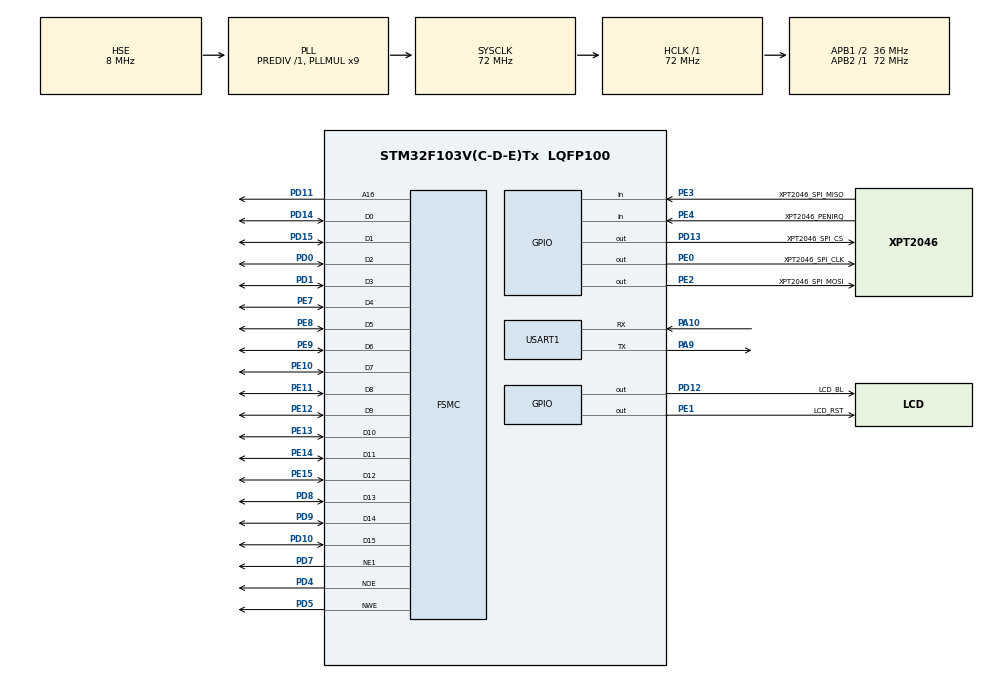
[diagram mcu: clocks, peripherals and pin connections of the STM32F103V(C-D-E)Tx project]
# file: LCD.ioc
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FSMC.AddressSetupTime1=1
FSMC.BusTurnAroundDuration1=0
FSMC.DataSetupTime1=4
Mcu.Family=STM32F1
Mcu.Name=STM32F103V(C-D-E)Tx
Mcu.Package=LQFP100
NVIC.PriorityGroup=NVIC_PRIORITYGROUP_4
OSC_IN.Mode=HSE-External-Oscillator
OSC_IN.Signal=RCC_OSC_IN
OSC_OUT.Mode=HSE-External-Oscillator
OSC_OUT.Signal=RCC_OSC_OUT
PA10.Mode=Asynchronous
PA10.Signal=USART1_RX
PA13.Mode=Serial_Wire
PA13.Signal=SYS_JTMS-SWDIO
PA14.Mode=Serial_Wire
PA14.Signal=SYS_JTCK-SWCLK
PA9.Mode=Asynchronous
PA9.Signal=USART1_TX
PD0.Mode=16b-d1
PD0.Signal=FSMC_D2
PD1.Mode=16b-d1
PD1.Signal=FSMC_D3
PD10.Mode=16b-d1
PD10.Signal=FSMC_D15
PD11.Mode=A16_1
PD11.Signal=FSMC_A16
PD12.GPIO_Label=LCD_BL
PD12.Signal=GPIO_Output
PD13.GPIO_Label=XPT2046_SPI_CS
PD13.GPIO_Speed=GPIO_SPEED_FREQ_HIGH
PD13.Signal=GPIO_Output
PD14.Mode=16b-d1
PD14.Signal=FSMC_D0
PD15.Mode=16b-d1
PD15.Signal=FSMC_D1
PD4.Mode=Lcd1
PD4.Signal=FSMC_NOE
PD5.Mode=Lcd1
PD5.Signal=FSMC_NWE
PD7.Mode=NorPsramChipSelect1_1
PD7.Signal=FSMC_NE1
PD8.Mode=16b-d1
PD8.Signal=FSMC_D13
PD9.Mode=16b-d1
PD9.Signal=FSMC_D14
PE0.GPIO_Label=XPT2046_SPI_CLK
PE0.GPIO_Speed=GPIO_SPEED_FREQ_HIGH
PE0.Signal=GPIO_Output
PE1.GPIO_Label=LCD_RST
PE1.Signal=GPIO_Output
PE10.Mode=16b-d1
PE10.Signal=FSMC_D7
PE11.Mode=16b-d1
PE11.Signal=FSMC_D8
PE12.Mode=16b-d1
PE12.Signal=FSMC_D9
PE13.Mode=16b-d1
PE13.Signal=FSMC_D10
PE14.Mode=16b-d1
PE14.Signal=FSMC_D11
PE15.Mode=16b-d1
PE15.Signal=FSMC_D12
PE2.GPIO_Label=XPT2046_SPI_MOSI
PE2.GPIO_Speed=GPIO_SPEED_FREQ_HIGH
PE2.Signal=GPIO_Output
PE3.GPIO_Label=XPT2046_SPI_MISO
PE3.GPIO_PuPd=GPIO_PULLUP
PE3.Signal=GPIO_Input
PE4.GPIO_Label=XPT2046_PENIRQ
PE4.GPIO_PuPd=GPIO_PULLUP
PE4.Signal=GPIO_Input
PE7.Mode=16b-d1
PE7.Signal=FSMC_D4
PE8.Mode=16b-d1
PE8.Signal=FSMC_D5
PE9.Mode=16b-d1
PE9.Signal=FSMC_D6
ProjectManager.HeapSize=0x00003000
ProjectManager.StackSize=0x00003000
ProjectManager.TargetToolchain=MDK-ARM V5.32
RCC.AHBFreq_Value=72000000
RCC.APB1CLKDivider=RCC_HCLK_DIV2
RCC.APB1Freq_Value=36000000
RCC.APB1TimFreq_Value=72000000
RCC.APB2Freq_Value=72000000
RCC.APB2TimFreq_Value=72000000
RCC.HCLKFreq_Value=72000000
RCC.PLLMUL=RCC_PLL_MUL9
RCC.PLLSourceVirtual=RCC_PLLSOURCE_HSE
RCC.SYSCLKFreq_VALUE=72000000
RCC.SYSCLKSource=RCC_SYSCLKSOURCE_PLLCLK
RCC.USBFreq_Value=72000000
USART1.VirtualMode=VM_ASYNC
board=custom

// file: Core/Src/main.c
/* USER CODE BEGIN Header */
/**
  ******************************************************************************
  * @file           : main.c
  * @brief          : Main program body
  ******************************************************************************
  * @attention
  *
  * <h2><center>&copy; Copyright (c) 2021 STMicroelectronics.
  * All rights reserved.</center></h2>
  *
  * This software component is licensed by ST under Ultimate Liberty license
  * SLA0044, the "License"; You may not use this file except in compliance with
  * the License. You may obtain a copy of the License at:
  *                             www.st.com/SLA0044
  *
  ******************************************************************************
  */
/* USER CODE END Header */
#include "main.h"
#include "usart.h"
#include "gpio.h"
#include "fsmc.h"

/* USER CODE BEGIN Includes */
#include <stdio.h>
#include "lv_port_disp.h"
#include "lvgl.h"
#include "lv_port_indev.h"
#include "../../GUI/lvgl_app/lv_demos/lv_demo.h"
#include "../../GUI/lvgl/examples/lv_examples.h"
#include "xpt2046_lcd.h"
/* USER CODE END Includes */

void SystemClock_Config(void);

/* USER CODE BEGIN 0 */
/* 告知连接器不从C库链接使用半主机的函数 */
#pragma import(__use_no_semihosting)
/* 定义 _sys_exit() 以避免使用半主机模式 */
void _sys_exit(int x)
{
    x = x;
}
/* 标准库需要的支持类型 */
struct __FILE
{
    int handle;
};

FILE __stdout;

/*重定向printf*/
#ifdef __GNUC__
#define PUTCHAR_PROTOTYPE int __io_putchar(int ch)
#else
#define PUTCHAR_PROTOTYPE int fputc(int ch, FILE *f)
#endif
PUTCHAR_PROTOTYPE
{
    HAL_UART_Transmit(&huart1 , (uint8_t *)&ch, 1, 0xFFFF);
    return ch;
}

/* USER CODE END 0 */

int main(void)
{

  /* MCU Configuration--------------------------------------------------------*/

  /* Reset of all peripherals, Initializes the Flash interface and the Systick. */
  HAL_Init();

  /* Configure the system clock */
  SystemClock_Config();

  /* Initialize all configured peripherals */
  MX_GPIO_Init();
  MX_FSMC_Init();
  MX_USART1_UART_Init();
  /* USER CODE BEGIN 2 */
	lv_init();
	lv_port_disp_init();
	lv_port_indev_init();

	lv_demo_keypad_encoder();

	//lv_example_anim_2();
  /* USER CODE END 2 */

  /* Infinite loop */
  while (1)
  {

    /* USER CODE BEGIN 3 */
		lv_task_handler();
//		XPT2046_TouchEvenHandler();
  }
  /* USER CODE END 3 */
}

void SystemClock_Config(void)
{
  RCC_OscInitTypeDef RCC_OscInitStruct = {0};
  RCC_ClkInitTypeDef RCC_ClkInitStruct = {0};

  /** Initializes the RCC Oscillators according to the specified parameters
  * in the RCC_OscInitTypeDef structure.
  */
  RCC_OscInitStruct.OscillatorType = RCC_OSCILLATORTYPE_HSE;
  RCC_OscInitStruct.HSEState = RCC_HSE_ON;
  RCC_OscInitStruct.HSEPredivValue = RCC_HSE_PREDIV_DIV1;
  RCC_OscInitStruct.HSIState = RCC_HSI_ON;
  RCC_OscInitStruct.PLL.PLLState = RCC_PLL_ON;
  RCC_OscInitStruct.PLL.PLLSource = RCC_PLLSOURCE_HSE;
  RCC_OscInitStruct.PLL.PLLMUL = RCC_PLL_MUL9;
  if (HAL_RCC_OscConfig(&RCC_OscInitStruct) != HAL_OK)
  {
    Error_Handler();
  }
  /** Initializes the CPU, AHB and APB buses clocks
  */
  RCC_ClkInitStruct.ClockType = RCC_CLOCKTYPE_HCLK|RCC_CLOCKTYPE_SYSCLK
                              |RCC_CLOCKTYPE_PCLK1|RCC_CLOCKTYPE_PCLK2;
  RCC_ClkInitStruct.SYSCLKSource = RCC_SYSCLKSOURCE_PLLCLK;
  RCC_ClkInitStruct.AHBCLKDivider = RCC_SYSCLK_DIV1;
  RCC_ClkInitStruct.APB1CLKDivider = RCC_HCLK_DIV2;
  RCC_ClkInitStruct.APB2CLKDivider = RCC_HCLK_DIV1;

  if (HAL_RCC_ClockConfig(&RCC_ClkInitStruct, FLASH_LATENCY_2) != HAL_OK)
  {
    Error_Handler();
  }
}

void Error_Handler(void)
{
  __disable_irq();
  while (1)
  {
  }
}

/************************ (C) COPYRIGHT STMicroelectronics *****END OF FILE****/
